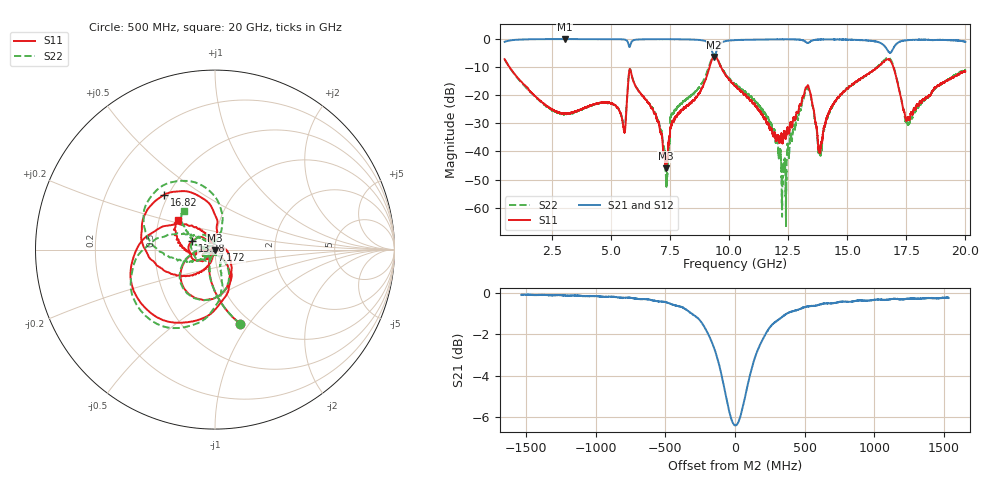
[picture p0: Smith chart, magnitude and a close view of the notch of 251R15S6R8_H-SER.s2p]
!{251R15S6R8}
!Johanson Technology Inc.
!www.johansontechnology.com
!Test Board Conditions:
!Substrate Type  RO4350B
!Substrate Thickness  20 mil
!Substrate Dk  3.66
!TL Type: GCPW
!TL Trace Width  34 mil
!TL Gap  10 mil
!Electrode orientation  Horizontal
!DUT TOPOLOGY	SERIES
!Mounting Pad LxW  26x52 mil
! Created Thu Mar 12 16:43:58 2020
# mhz S ma R 50
! 2 Port Network Data from SP1.SP block
! freq  magS11  angS11  magS21  angS21  magS12  angS12  magS22  angS22
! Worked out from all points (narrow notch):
!   19501 points, 500 MHz to 20 GHz, reference 50 ohm
!   highest |S21| = -0.01 dB at 3.038 GHz (marker M1); lowest = -6.4 dB at 9.368 GHz (marker M2)
!   notch at M2: 6.2 dB deep, 256 MHz wide at half that depth
!   lowest |S11| = -46.0 dB at 7.32 GHz (marker M3), VSWR 1.01, Z = 50 - j0.5 ohm
!   |S11| at or under -10 dB: 709 MHz to 9.174 GHz (8.465 GHz wide, 171 % of centre); 9.661 GHz to 16.29 GHz (6.628 GHz wide, 51.1 % of centre); 16.95 GHz to end of sweep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
!   |S22| runs from -67.1 to -5.4 dB; largest |S21 - S12| = 0.019
!   S11 on the Smith chart (normalised r, x): 500 MHz: 0.89, -0.91; 7.172 GHz: 0.97, -0.01; 13.38 GHz: 0.77, +0.07; 16.82 GHz: 0.47, +0.35; 20 GHz: 0.63, +0.22
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500  0.4383 -71.1  0.8921 19.7  0.8942 19.6  0.4362 -71.1
3038  0.04703 -128.5  0.9987 -40.5  0.9971 -40.4  0.04615 -131.3
3750  0.05625 -136.7  0.9956 -52.0  0.9965 -52.0  0.05557 -142.5
5547  0.02419 -133.7  0.9831 -83.6  0.983 -83.6  0.02572 -129.0
5837  0.2695 -132.5  0.8282 -75.5  0.8288 -75.6  0.2712 -133.7
7000  0.03429 178.5  0.9952 -101.3  0.9954 -101.3  0.0362 172.0
7172  0.01667 -170.2  0.9944 -104.2  0.9942 -104.2  0.0186 178.0
7320  0.005012 -93.4  0.9954 -106.7  0.9948 -106.7  0.004782 -133.8
7598  0.03335 10.4  0.9914 -111.5  0.9912 -111.5  0.0472 -42.5
9039  0.2073 -66.8  0.9001 -144.9  0.9016 -144.9  0.2404 -82.1
9368  0.507 -140.5  0.4775 -137.6  0.48 -137.6  0.5352 -137.0
10250  0.1456 127.7  0.9582 -143.3  0.959 -143.4  0.1577 148.1
11715  0.02645 130.7  0.982 -169.9  0.9861 -169.9  0.03312 131.1
12322  0.02154 -164.9  0.9859 179.7  0.9887 179.7  0.004959 -147.4
13377  0.1351 160.1  0.8648 166.4  0.8652 166.2  0.1211 149.2
13500  0.08017 132.2  0.9327 166.1  0.9344 166.1  0.07233 113.9
13844  0.009398 -177.5  0.9805 158.2  0.9838 158.2  0.0091 166.3
14524  0.08097 -109.9  0.9834 145.2  0.9857 145.2  0.07892 -142.4
16750  0.4353 146.7  0.594 105.6  0.5818 105.5  0.4641 134.2
16821  0.4174 132.8  0.5681 114.2  0.5611 114.7  0.4387 120.4
17554  0.03916 140.0  0.9575 106.8  0.9561 106.8  0.03113 129.4
20000  0.2647 141.4  0.8925 56.0  0.8925 56.1  0.2783 128.6
